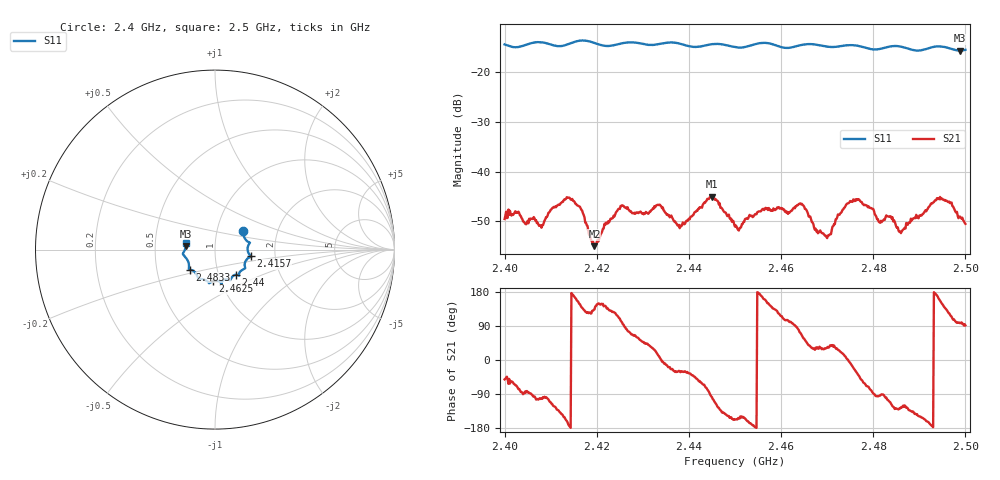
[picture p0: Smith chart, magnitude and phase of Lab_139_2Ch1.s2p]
# Hz S RI R 50
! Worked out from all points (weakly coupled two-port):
!   601 points, 2.4 GHz to 2.5 GHz, reference 50 ohm
!   highest |S21| = -45.02 dB at 2.445 GHz (marker M1); lowest = -55.0 dB at 2.4195 GHz (marker M2)
!   lowest |S11| = -15.7 dB at 2.4988 GHz (marker M3), VSWR 1.39, Z = 36 + j1.38 ohm
!   |S11| at or under -10 dB: start of sweep to end of sweep
!   S12 and S22 are empty: the file has one direction only
!   S11 on the Smith chart (normalised r, x): 2.4 GHz: 1.33, +0.29; 2.4157 GHz: 1.49, -0.12; 2.44 GHz: 1.21, -0.35; 2.4625 GHz: 0.92, -0.34; 2.4833 GHz: 0.74, -0.17; 2.5 GHz: 0.72, +0.06
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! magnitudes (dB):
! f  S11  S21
! 2.4 GHz  -14.5  -49.5
! 2.4078 GHz  -14.1  -50.8
! 2.4133 GHz  -14.6  -45.5
! 2.4157 GHz  -13.8  -46.7
! 2.4167 GHz  -13.7  -47.7
! 2.4195 GHz  -14.2  -55.0
! 2.4252 GHz  -14.3  -46.9
! 2.4333 GHz  -14.4  -46.7
! 2.4378 GHz  -14.3  -50.7
! 2.44 GHz  -14.8  -49.4
! 2.445 GHz  -14.4  -45.0
! 2.45 GHz  -15.0  -51.1
! 2.4625 GHz  -15.0  -47.6
! 2.4645 GHz  -14.6  -46.5
! 2.4667 GHz  -14.4  -50.1
! 2.4703 GHz  -15.0  -52.8
! 2.4762 GHz  -14.7  -45.6
! 2.4833 GHz  -15.0  -49.0
! 2.486 GHz  -14.9  -52.4
! 2.4943 GHz  -14.9  -45.6
! 2.4988 GHz  -15.7  -49.0
! 2.5 GHz  -15.6  -50.5
